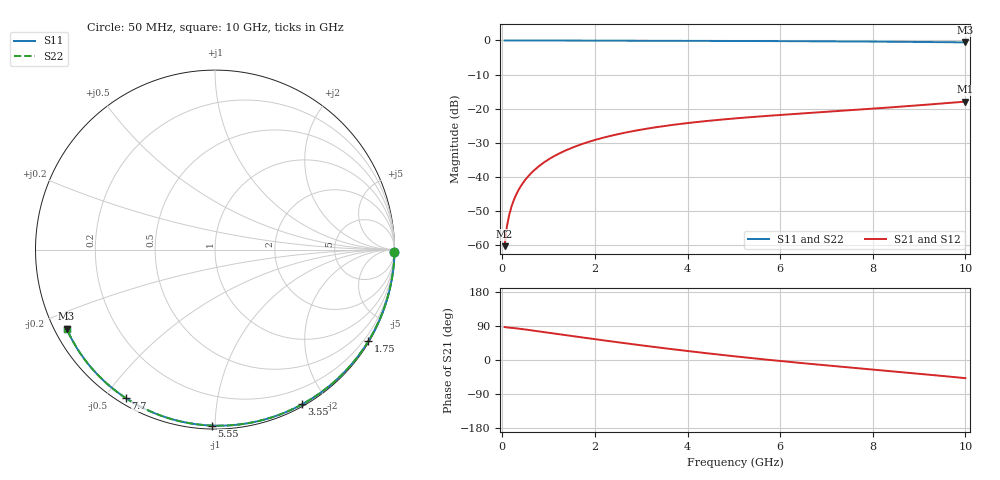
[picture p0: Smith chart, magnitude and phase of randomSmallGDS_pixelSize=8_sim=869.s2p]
! freq	dB(S11)	phase(S11)	dB(S12)	phase(S12)
!  dB(S21)	phase(S21)	dB(S22)	phase(S22)
!S-par simulation data
#  GHz  S  DB  R 50
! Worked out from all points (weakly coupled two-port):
!   200 points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, 50 MHz to 10 GHz, reference 50 ohm
!   highest |S21| = -17.93 dB at 10 GHz (marker M1); lowest = -60.3 dB at 50 MHz (marker M2)
!   lowest |S11| = -0.6 dB at 10 GHz (marker M3), VSWR 30.72, Z = 1.73 - j12.5 ohm
!   |S11| at or under -10 dB: nowhere
!   |S22| runs from -0.6 to 0.0 dB; largest |S21 - S12| = 0
!   S11 on the Smith chart (normalised r, x): 50 MHz: open; 1.75 GHz: 0.04, -3.64; 3.55 GHz: 0.02, -1.71; 5.55 GHz: 0.02, -0.98; 7.7 GHz: 0.02, -0.56; 10 GHz: 0.03, -0.25
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0.05  -0.00 -0.9  -60.31 87.1  -60.31 87.1  -0.00 -0.9
0.1  -0.00 -1.8  -54.51 86.1  -54.51 86.1  -0.00 -1.8
0.15  -0.00 -2.7  -51.10 85.5  -51.10 85.5  -0.00 -2.7
0.2  -0.00 -3.6  -48.66 85.0  -48.66 85.0  -0.00 -3.6
0.25  -0.00 -4.5  -46.75 84.3  -46.75 84.3  -0.00 -4.5
0.35  -0.00 -6.3  -43.86 82.8  -43.86 82.8  -0.00 -6.3
0.5  -0.01 -8.9  -40.79 80.4  -40.79 80.4  -0.01 -8.9
0.7  -0.01 -12.5  -37.91 77.1  -37.91 77.1  -0.01 -12.5
1  -0.02 -17.7  -34.87 71.9  -34.87 71.9  -0.02 -17.7
1.35  -0.03 -23.9  -32.36 65.9  -32.36 65.9  -0.03 -23.9
1.75  -0.04 -30.8  -30.24 59.1  -30.24 59.1  -0.04 -30.8
2.5  -0.06 -43.5  -27.47 46.7  -27.47 46.7  -0.06 -43.5
3.4  -0.09 -58.2  -25.28 32.6  -25.28 32.6  -0.09 -58.2
3.55  -0.09 -60.6  -24.99 30.3  -24.99 30.3  -0.09 -60.6
4.3  -0.12 -72.4  -23.77 19.5  -23.77 19.5  -0.12 -72.4
5.05  -0.15 -83.7  -22.82 9.3  -22.82 9.3  -0.15 -83.7
5.55  -0.17 -91.1  -22.28 2.9  -22.28 2.9  -0.17 -91.1
6.7  -0.23 -107.4  -21.19 -10.8  -21.19 -10.8  -0.23 -107.4
7.7  -0.31 -121.1  -20.28 -21.9  -20.28 -21.9  -0.31 -121.1
8.35  -0.37 -129.8  -19.66 -29.1  -19.66 -29.1  -0.37 -129.8
9.2  -0.46 -141.2  -18.79 -38.6  -18.79 -38.6  -0.46 -141.2
10  -0.57 -151.9  -17.93 -47.9  -17.93 -47.9  -0.57 -151.9
